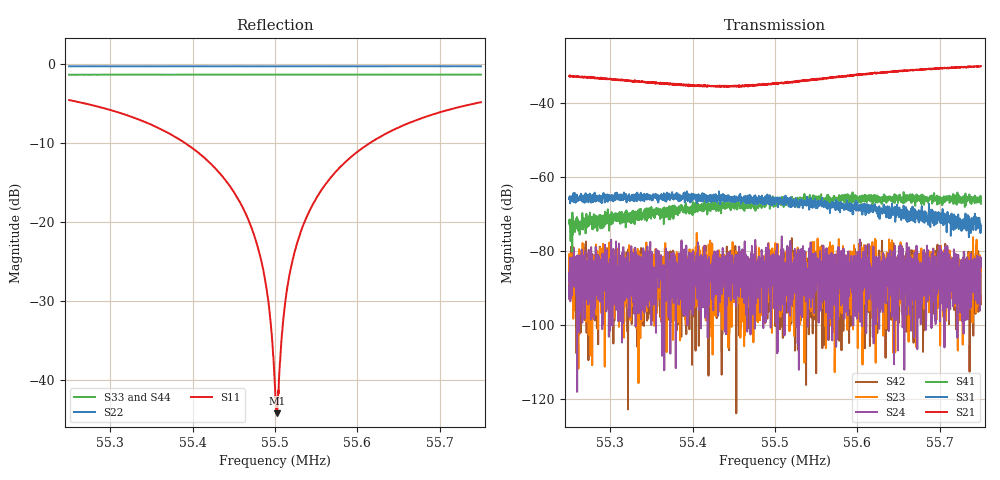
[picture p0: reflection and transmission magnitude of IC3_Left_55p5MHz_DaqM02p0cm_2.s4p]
#  HZ  S  DB  R  50.00
! Rohde & Schwarz Vector Network Analyzer
! Rohde-Schwarz,ZNB8-4Port,1311601044102961,2.82
! Created: UTC 2/13/2019, 8:57:32 AM
! freq[Hz]  db:S11  ang:S11  db:S12  ang:S12  db:S13  ang:S13  db:S14  ang:S14
!  db:S21  ang:S21  db:S22  ang:S22  db:S23  ang:S23  db:S24  ang:S24
!  db:S31  ang:S31  db:S32  ang:S32  db:S33  ang:S33  db:S34  ang:S34
!  db:S41  ang:S41  db:S42  ang:S42  db:S43  ang:S43  db:S44  ang:S44
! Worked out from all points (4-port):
!   2001 points, 55.25 MHz to 55.75 MHz, reference 50 ohm
!   strongest paths, dB at 55.25 MHz, 55.375 MHz, 55.5 MHz, 55.625 MHz, 55.75 MHz:
!     S21: -32.7, -35.0, -34.8, -31.9, -30.1
!     S31: -66.0, -64.2, -67.2, -69.2, -74.4
!     S41: -72.6, -68.1, -67.8, -65.5, -67.3
!     S24: -89.8, -90.1, -87.1, -86.4, -84.4
!     S23: -83.1, -84.0, -93.3, -91.1, -85.5
!     S42: -89.5, -84.1, -98.3, -85.5, -94.5
!   lowest |S11| = -44.2 dB at 55.502 MHz (marker M1), VSWR 1.01, Z = 49.6 - j0.481 ohm
!   |S11| at or under -10 dB: 55.39045 MHz to 55.61556 MHz (225.1 kHz wide, 0.406 % of centre)
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5.525e7  -4.60 -157.7  -32.76 71.8  -65.96 -165.1  -74.39 -23.3
         -32.74 72.4  -0.33 94.2  -83.05 -6.4  -89.80 87.9
         -65.97 -166.5  -86.81 36.9  -1.39 34.9  -89.59 150.8
         -72.62 -17.8  -89.53 75.1  -96.38 140.4  -1.38 28.5
5.544575e7  -15.54 162.6  -35.55 88.6  -65.96 158.6  -67.28 -49.1
            -35.56 89.1  -0.33 90.6  -88.90 -41.9  -84.79 116.0
            -65.49 154.9  -83.17 152.3  -1.38 32.6  -87.97 -176.7
            -68.60 -57.2  -86.76 -88.6  -91.81 -66.0  -1.37 26.1
5.5484e7  -25.15 157.7  -35.15 94.8  -65.42 145.3  -67.49 -65.7
          -35.13 95.0  -0.33 89.9  -97.37 145.7  -88.81 130.8
          -65.10 152.9  -87.18 -35.2  -1.38 32.1  -85.16 -82.4
          -66.83 -51.3  -84.28 -171.4  -88.14 10.3  -1.38 25.6
5.5502e7  -44.16 -128.5  -34.66 98.3  -66.06 149.2  -67.26 -68.8
          -34.79 98.4  -0.33 89.6  -79.41 14.8  -95.39 -161.5
          -66.83 153.5  -88.22 42.2  -1.38 31.9  -85.45 140.0
          -66.42 -63.3  -84.83 164.9  -85.76 -115.4  -1.37 25.4
5.551975e7  -25.59 -44.6  -34.22 100.2  -66.54 150.5  -68.61 -73.1
            -34.48 100.0  -0.33 89.3  -83.62 8.1  -87.16 -1.1
            -66.18 142.8  -93.13 102.8  -1.38 31.7  -103.28 128.5
            -66.26 -66.0  -99.69 -37.1  -83.75 5.8  -1.37 25.2
5.555725e7  -15.82 -49.2  -33.29 101.8  -66.70 128.3  -67.14 -78.7
            -33.47 102.9  -0.32 88.6  -82.73 115.2  -83.24 57.3
            -67.94 143.5  -87.96 -6.1  -1.38 31.2  -91.41 103.8
            -66.66 -74.8  -78.55 109.2  -91.33 -159.7  -1.37 24.7
5.575e7  -4.87 -88.1  -30.06 93.8  -74.91 122.6  -66.02 -116.8
         -30.10 94.1  -0.33 85.1  -85.45 56.5  -84.40 -51.8
         -74.38 104.5  -84.68 -88.4  -1.38 28.9  -83.31 12.1
         -67.29 -107.8  -94.45 77.0  -82.02 133.5  -1.37 22.4
